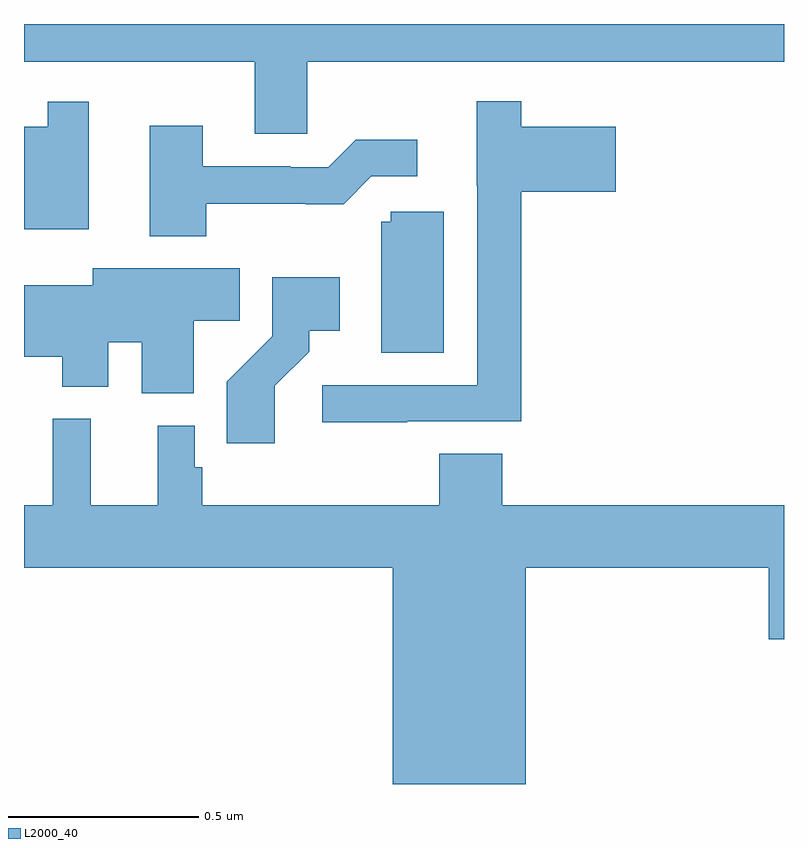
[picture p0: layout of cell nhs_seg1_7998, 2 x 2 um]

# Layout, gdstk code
import gdstk
lib = gdstk.Library(unit=1e-6, precision=1e-09)
def P(c, l, *ps):  # polygons
    for p in ps: c.add(gdstk.Polygon(p, *l))
L2000_40 = (2000, 40)

nhs_seg1_7998 = lib.new_cell('nhs_seg1_7998')
P(nhs_seg1_7998, L2000_40, [(211.746,517.1),(213,517.1),(213,517.199),(211,517.199),(211,517.1),(211.607,517.1),(211.607,516.91),(211.746,516.91)],
  [(212.009,516.153),(212.309,516.153),(212.309,516.758),(212.557,516.758),(212.557,516.928),(212.309,516.928),(212.309,516.996),(212.192,516.996),(212.192,516.774),(212.193,516.774),(212.193,516.249),(211.785,516.249),(211.785,516.151),(212.009,516.151)],
  [(211.17,516.994),(211.062,516.994),(211.062,516.928),(211,516.928),(211,516.659),(211.17,516.659)],
  [(211.479,516.726),(211.742,516.726),(211.742,516.725),(211.841,516.725),(211.914,516.798),(212.035,516.798),(212.035,516.895),(211.873,516.895),(211.8,516.822),(211.7,516.822),(211.7,516.825),(211.471,516.825),(211.471,516.931),(211.331,516.931),(211.331,516.641),(211.479,516.641)],
  [(212.104,516.705),(211.965,516.705),(211.965,516.678),(211.94,516.678),(211.94,516.334),(212.104,516.334)],
  [(211.447,516.418),(211.568,516.418),(211.568,516.556),(211.181,516.556),(211.181,516.511),(211,516.511),(211,516.323),(211.1,516.323),(211.1,516.245),(211.222,516.245),(211.222,516.362),(211.31,516.362),(211.31,516.227),(211.447,516.227)],
  [(211.66,516.247),(211.75,516.337),(211.75,516.392),(211.831,516.392),(211.831,516.532),(211.653,516.532),(211.653,516.377),(211.534,516.258),(211.534,516.096),(211.66,516.096)],
  [(212.32,515.768),(212.96,515.768),(212.96,515.58),(213,515.58),(213,515.932),(212.258,515.932),(212.258,516.068),(212.093,516.068),(212.093,515.932),(211.469,515.932),(211.469,516.033),(211.449,516.033),(211.449,516.142),(211.352,516.142),(211.352,515.932),(211.175,515.932),(211.175,516.16),(211.076,516.16),(211.076,515.932),(211,515.932),(211,515.768),(211.97,515.768),(211.97,515.199),(212.32,515.199)])

lib.write_gds('nhs_seg1_7998.gds')
